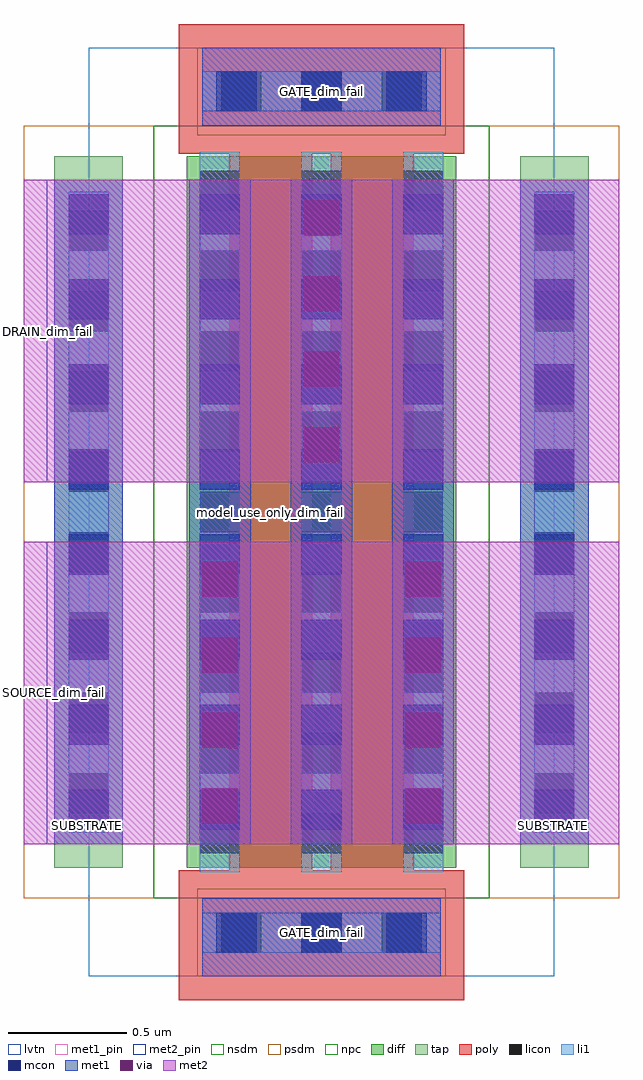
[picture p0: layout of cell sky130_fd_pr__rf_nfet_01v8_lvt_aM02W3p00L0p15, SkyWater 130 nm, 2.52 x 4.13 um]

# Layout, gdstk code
import gdstk
lib = gdstk.Library(unit=1e-6, precision=1e-09)
def R(c, l, rs):  # rectangles x0, y0, x1, y1
    for r in rs: c.add(gdstk.rectangle(r[:2], r[2:], *l))
def A(c, l, x, y, w, h, nx, ny, dx, dy):  # array of equal rectangles
    R(c, l, [(x+i*dx, y+j*dy, x+i*dx+w, y+j*dy+h) for i in range(nx) for j in range(ny)])
def P(c, l, *ps):  # polygons
    for p in ps: c.add(gdstk.Polygon(p, *l))
diff = (65, 20)
tap = (65, 44)
poly = (66, 20)
licon = (66, 44)
li1 = (67, 20)
mcon = (67, 44)
met1_pin = (68, 16)
met1 = (68, 20)
via = (68, 44)
met2_pin = (69, 16)
met2 = (69, 20)
nsdm = (93, 44)
psdm = (94, 20)
npc = (95, 20)
lvtn = (125, 44)

sky130_fd_pr__rf_nfet_01 = lib.new_cell('sky130_fd_pr__rf_nfet_01v8_lvt_aM02W3p00L0p15')
R(sky130_fd_pr__rf_nfet_01, diff, [(0.74,0.51,1.88,3.52)])
R(sky130_fd_pr__rf_nfet_01, tap, [(0.18,0.51,0.47,3.52), (2.15,0.51,2.44,3.52)])
P(sky130_fd_pr__rf_nfet_01, poly, [(0.705,-0.05),(0.705,0.5),(0.92,0.5),(0.92,3.53),(1.27,3.53),(1.27,0.5),(1.35,0.5),(1.35,3.53),(0.705,3.53),(0.705,4.08),(1.915,4.08),(1.915,3.53),(1.7,3.53),(1.7,0.5),(1.915,0.5),(1.915,-0.05)])
A(sky130_fd_pr__rf_nfet_01, licon, 0.885, 0.15, 0.17, 0.17, 3, 2, 0.34, 3.56)
A(sky130_fd_pr__rf_nfet_01, licon, 0.795, 0.57, 0.17, 0.17, 3, 9, 0.43, 0.34)
A(sky130_fd_pr__rf_nfet_01, licon, 0.24, 0.74, 0.17, 0.17, 1, 8, 0, 0.34)
A(sky130_fd_pr__rf_nfet_01, licon, 2.21, 0.74, 0.17, 0.17, 1, 8, 0, 0.34)
A(sky130_fd_pr__rf_nfet_01, li1, 0.795, 0.49, 0.17, 3.05, 3, 1, 0.43, 0)
A(sky130_fd_pr__rf_nfet_01, li1, 0.795, 0.67, 0.17, 2.69, 3, 1, 0.43, 0)
R(sky130_fd_pr__rf_nfet_01, li1, [(0.805,0.15,1.815,0.32), (0.865,0.15,1.755,0.32), (0.24,0.66,0.41,3.37), (2.21,0.66,2.38,3.37), (0.24,0.67,0.41,3.36), (2.21,0.67,2.38,3.36), (0.805,3.71,1.815,3.88), (0.865,3.71,1.755,3.88)])
A(sky130_fd_pr__rf_nfet_01, mcon, 0.865, 0.15, 0.17, 0.17, 3, 2, 0.36, 3.56)
A(sky130_fd_pr__rf_nfet_01, mcon, 0.24, 0.67, 0.17, 0.17, 1, 8, 0, 0.36)
A(sky130_fd_pr__rf_nfet_01, mcon, 0.795, 0.67, 0.17, 0.17, 3, 8, 0.43, 0.36)
A(sky130_fd_pr__rf_nfet_01, mcon, 2.21, 0.67, 0.17, 0.17, 1, 8, 0, 0.36)
R(sky130_fd_pr__rf_nfet_01, met1_pin, [(0.805,0.05,1.815,0.38), (0.18,0.61,0.47,0.69), (2.15,0.61,2.44,0.69), (0.805,3.65,1.815,3.98)])
A(sky130_fd_pr__rf_nfet_01, met1, 0.75, 0.61, 0.26, 2.81, 3, 1, 0.43, 0)
R(sky130_fd_pr__rf_nfet_01, met1, [(0.805,0.05,1.815,0.38), (0.18,0.61,0.47,3.42), (0.75,0.61,1.01,1.89), (1.61,0.61,1.87,1.89), (2.15,0.61,2.44,3.42), (1.18,2.14,1.44,3.42), (0.805,3.65,1.815,3.98)])
A(sky130_fd_pr__rf_nfet_01, via, 0.805, 0.695, 0.15, 0.15, 1, 4, 0, 0.32)
A(sky130_fd_pr__rf_nfet_01, via, 1.665, 0.695, 0.15, 0.15, 1, 4, 0, 0.32)
A(sky130_fd_pr__rf_nfet_01, via, 1.235, 2.225, 0.15, 0.15, 1, 4, 0, 0.32)
R(sky130_fd_pr__rf_nfet_01, met2_pin, [(0.05,0.61,0.15,1.89), (0.05,2.14,0.15,3.42)])
R(sky130_fd_pr__rf_nfet_01, met2, [(0.05,0.61,2.57,1.89), (0.75,0.61,1.01,1.89), (1.61,0.61,1.87,1.89), (0.05,2.14,2.57,3.42), (1.18,2.14,1.44,3.42)])
R(sky130_fd_pr__rf_nfet_01, nsdm, [(0.6,0.38,2.02,3.65)])
R(sky130_fd_pr__rf_nfet_01, psdm, [(0.05,0.38,0.6,3.65), (2.02,0.38,2.57,3.65)])
R(sky130_fd_pr__rf_nfet_01, npc, [(0.785,0.05,1.835,0.42), (0.785,3.61,1.835,3.98)])
R(sky130_fd_pr__rf_nfet_01, lvtn, [(0.325,0.05,2.295,3.98)])
sky130_fd_pr__rf_nfet_01.add(gdstk.Label('model_use_only_dim_fail', (1.095,2.015), layer=66, texttype=83))
sky130_fd_pr__rf_nfet_01.add(gdstk.Label('model_use_only_dim_fail', (1.525,2.015), layer=66, texttype=83))
sky130_fd_pr__rf_nfet_01.add(gdstk.Label('SOURCE_dim_fail', (0.15,1.25), layer=69, texttype=5))
sky130_fd_pr__rf_nfet_01.add(gdstk.Label('DRAIN_dim_fail', (0.15,2.78), layer=69, texttype=5))
sky130_fd_pr__rf_nfet_01.add(gdstk.Label('GATE_dim_fail', (1.31,0.235), layer=68, texttype=5))
sky130_fd_pr__rf_nfet_01.add(gdstk.Label('GATE_dim_fail', (1.31,3.795), layer=68, texttype=5))
sky130_fd_pr__rf_nfet_01.add(gdstk.Label('SUBSTRATE', (0.32,0.69), layer=68, texttype=5))
sky130_fd_pr__rf_nfet_01.add(gdstk.Label('SUBSTRATE', (2.29,0.69), layer=68, texttype=5))

lib.write_gds('sky130_fd_pr__rf_nfet_01v8_lvt_aM02W3p00L0p15.gds')
